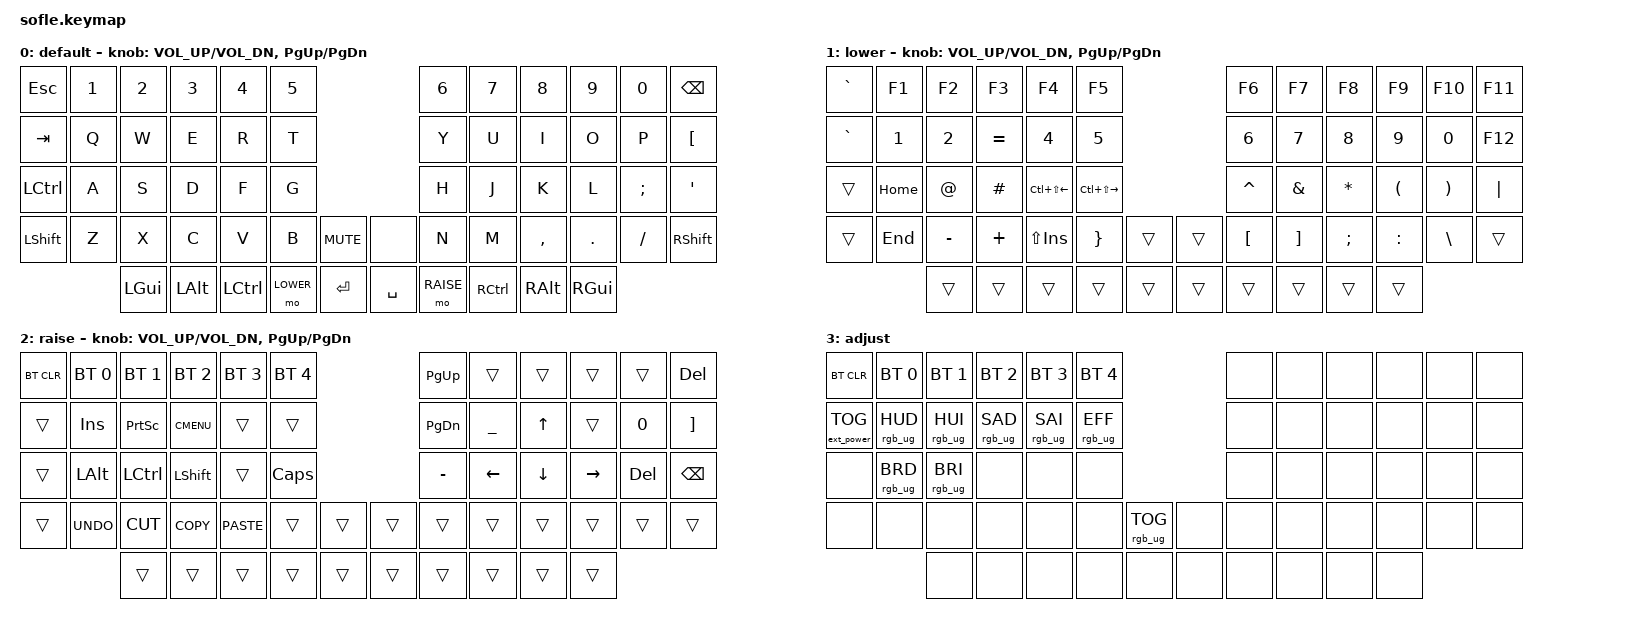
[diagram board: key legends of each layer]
/*
 * Copyright (c) 2020 The ZMK Contributors
 *
 * SPDX-License-Identifier: MIT
 */

#include <behaviors.dtsi>
#include <dt-bindings/zmk/bt.h>
#include <dt-bindings/zmk/ext_power.h>
#include <dt-bindings/zmk/keys.h>
#include <dt-bindings/zmk/rgb.h>

#define BASE 0
#define LOWER 1
#define RAISE 2
#define ADJUST 3

/ {
    combos {
        compatible = "zmk,combos";

        combo_studio_unlock {
            timeout-ms = <50>;
            key-positions = <0 1>;
            bindings = <&studio_unlock>;
        };

        bl_left {
            bindings = <&bootloader>;
            key-positions = <1 5>;
        };

        bl_right {
            bindings = <&bootloader>;
            key-positions = <6 10>;
        };

        full_bksp {
            bindings = <&kp RA(BACKSPACE)>;
            key-positions = <10 11>;
        };
    };
};

/ {
    // Activate ADJUST layer by pressing raise and lower

    conditional_layers {
        compatible = "zmk,conditional-layers";

        adjust_layer {
            if-layers = <LOWER RAISE>;
            then-layer = <ADJUST>;
        };
    };

    keymap {
        compatible = "zmk,keymap";

        default_layer {
            display-name = "default";

            // ------------------------------------------------------------------------------------------------------------
            // |   `   |  1  |  2  |  3   |  4   |  5   |                   |  6   |  7    |  8    |  9   |   0   |       |
            // |  ESC  |  Q  |  W  |  E   |  R   |  T   |                   |  Y   |  U    |  I    |  O   |   P   | BKSPC |
            // |  TAB  |  A  |  S  |  D   |  F   |  G   |                   |  H   |  J    |  K    |  L   |   ;   |   '   |
            // | SHIFT |  Z  |  X  |  C   |  V   |  B   |  MUTE  |  |       |  N   |  M    |  ,    |  .   |   /   | SHIFT |
            //               | GUI | ALT  | CTRL | LOWER|  ENTER |  | SPACE | RAISE| CTRL  | ALT   | GUI  |

            bindings = <
&kp ESCAPE        &kp N1  &kp N2    &kp N3    &kp N4     &kp N5                              &kp N6     &kp N7     &kp N8     &kp N9    &kp N0    &kp BACKSPACE
&kp TAB           &kp Q   &kp W     &kp E     &kp R      &kp T                               &kp Y      &kp U      &kp I      &kp O     &kp P     &kp LBKT
&kp LEFT_CONTROL  &kp A   &kp S     &kp D     &kp F      &kp G                               &kp H      &kp J      &kp K      &kp L     &kp SEMI  &kp SQT
&kp LSHFT         &kp Z   &kp X     &kp C     &kp V      &kp B      &kp C_MUTE    &none      &kp N      &kp M      &kp COMMA  &kp DOT   &kp FSLH  &kp RSHFT
                          &kp LGUI  &kp LALT  &kp LCTRL  &mo LOWER  &kp RET       &kp SPACE  &mo RAISE  &kp RCTRL  &kp RALT   &kp RGUI
            >;

            sensor-bindings = <&inc_dec_kp C_VOL_UP C_VOL_DN &inc_dec_kp PG_UP PG_DN>;
        };

        lower_layer {
            display-name = "lower";

            // TODO: Some binds are waiting for shifted keycode support.
            // ------------------------------------------------------------------------------------------------------------
            // |       |  F1 |  F2 |  F3  |  F4  |  F5  |                   |  F6  |  F7   |  F8   |  F9  |  F10  |  F11  |
            // |   `   |  1  |  2  |  3   |  4   |  5   |                   |  6   |  7    |  8    |  9   |   0   |  F12  |
            // |       |  !  |  @  |  #   |  $   |  %   |                   |  ^   |  &    |  *    |  (   |   )   |   |   |
            // |       |  =  |  -  |  +   |  {   |  }   |        |  |       |  [   |  ]    |  ;    |  :   |   \   |       |
            //               |     |      |      |      |        |  |       |      |       |       |      |

            bindings = <
&kp GRAVE  &kp F1    &kp F2     &kp F3     &kp F4            &kp F5                               &kp F6     &kp F7    &kp F8     &kp F9     &kp F10   &kp F11
&kp GRAVE  &kp N1    &kp N2     &kp EQUAL  &kp N4            &kp N5                               &kp N6     &kp N7    &kp N8     &kp N9     &kp N0    &kp F12
&trans     &kp HOME  &kp AT     &kp HASH   &kp LC(LS(LEFT))  &kp LC(LS(RIGHT))                    &kp CARET  &kp AMPS  &kp ASTRK  &kp LPAR   &kp RPAR  &kp PIPE
&trans     &kp END   &kp MINUS  &kp PLUS   &kp LS(INSERT)    &kp RBRC           &trans    &trans  &kp LBKT   &kp RBKT  &kp SEMI   &kp COLON  &kp BSLH  &trans
                     &trans     &trans     &trans            &trans             &trans    &trans  &trans     &trans    &trans     &trans
            >;

            sensor-bindings = <&inc_dec_kp C_VOL_UP C_VOL_DN &inc_dec_kp PG_UP PG_DN>;
        };

        raise_layer {
            display-name = "raise";

            // ------------------------------------------------------------------------------------------------------------
            // | BTCLR | BT1  | BT2  |  BT3  |  BT4  |  BT5 |                |      |      |       |      |       |       |
            // |       | INS  | PSCR | GUI   |       |      |                | PGUP |      |   ^   |      |       |       |
            // |       | ALT  | CTRL | SHIFT |       | CAPS |                | PGDN |   <- |   v   |  ->  |  DEL  | BKSPC |
            // |       | UNDO | CUT  | COPY  | PASTE |      |      |  |      |      |      |       |      |       |       |
            //                |      |       |       |      |      |  |      |      |      |       |      |

            bindings = <
&bt BT_CLR  &bt BT_SEL 0  &bt BT_SEL 1  &bt BT_SEL 2  &bt BT_SEL 3  &bt BT_SEL 4                    &kp PG_UP  &trans     &trans    &trans     &trans   &kp DEL
&trans      &kp INS       &kp PSCRN     &kp K_CMENU   &trans        &trans                          &kp PG_DN  &kp UNDER  &kp UP    &trans     &kp N0   &kp RIGHT_BRACKET
&trans      &kp LALT      &kp LCTRL     &kp LSHFT     &trans        &kp CLCK                        &kp MINUS  &kp LEFT   &kp DOWN  &kp RIGHT  &kp DEL  &kp BSPC
&trans      &kp K_UNDO    &kp K_CUT     &kp K_COPY    &kp K_PASTE   &trans        &trans    &trans  &trans     &trans     &trans    &trans     &trans   &trans
                          &trans        &trans        &trans        &trans        &trans    &trans  &trans     &trans     &trans    &trans
            >;

            sensor-bindings = <&inc_dec_kp C_VOL_UP C_VOL_DN &inc_dec_kp PG_UP PG_DN>;
        };

        adjust_layer {
            // ----------------------------------------------------------------------------------------------------------------------------
            // | BTCLR  |  BT1    |  BT2    |   BT3   |   BT4   |   BT5   |                  |      |      |       |      |       |       |
            // | EXTPWR | RGB_HUD | RGB_HUI | RGB_SAD | RGB_SAI | RGB_EFF |                  |      |      |       |      |       |       |
            // |        | RGB_BRD | RGB_BRI |         |         |         |                  |      |      |       |      |       |       |
            // |        |         |         |         |         |         | RGB_TOG | |      |      |      |       |      |       |       |
            //                    |         |         |         |         |         | |      |      |      |       |      |

            display-name = "adjust";
            bindings = <
&bt BT_CLR         &bt BT_SEL 0     &bt BT_SEL 1     &bt BT_SEL 2     &bt BT_SEL 3     &bt BT_SEL 4                               &none  &none  &none  &none  &none  &none
&ext_power EP_TOG  &rgb_ug RGB_HUD  &rgb_ug RGB_HUI  &rgb_ug RGB_SAD  &rgb_ug RGB_SAI  &rgb_ug RGB_EFF                            &none  &none  &none  &none  &none  &none
&none              &rgb_ug RGB_BRD  &rgb_ug RGB_BRI  &none            &none            &none                                      &none  &none  &none  &none  &none  &none
&none              &none            &none            &none            &none            &none            &rgb_ug RGB_TOG    &none  &none  &none  &none  &none  &none  &none
                                    &none            &none            &none            &none            &none              &none  &none  &none  &none  &none
            >;
        };
    };
};
